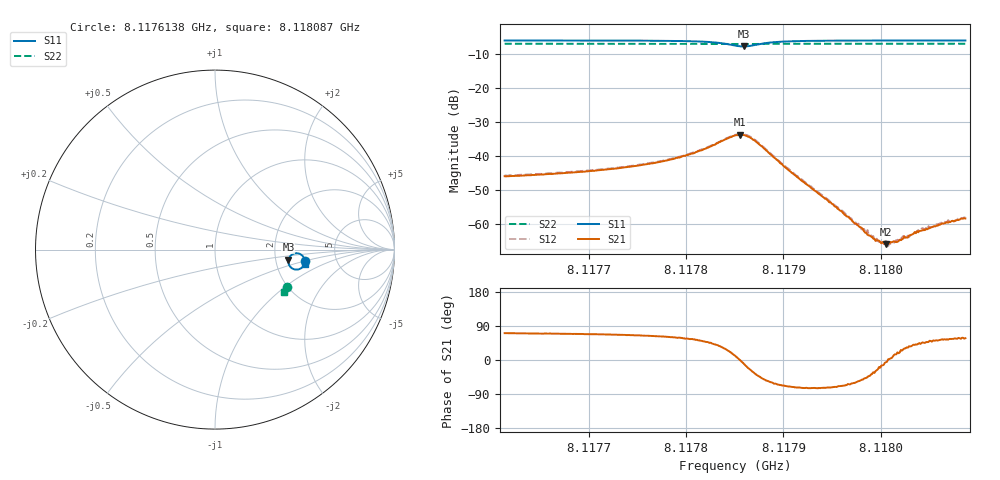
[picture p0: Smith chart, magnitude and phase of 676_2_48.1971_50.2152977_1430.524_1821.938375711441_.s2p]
#  HZ  S  RI  R  50.00
! Rohde & Schwarz Vector Network Analyzer
! Rohde-Schwarz,ZNB20-2Port,1311601062101988,3.16
! Created: UTC 3/20/2024, 12:06:20 PM
! freq[Hz]  re:S11  im:S11  re:S21  im:S21  re:S12  im:S12  re:S22  im:S22
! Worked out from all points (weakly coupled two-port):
!   401 points, 8.1176138 GHz to 8.118087 GHz, reference 50 ohm
!   highest |S21| = -33.71 dB at 8.1178551 GHz (marker M1); lowest = -66.0 dB at 8.1180054 GHz (marker M2)
!   lowest |S11| = -7.7 dB at 8.1178599 GHz (marker M3), VSWR 2.41, Z = 118 - j16.1 ohm
!   |S11| at or under -10 dB: nowhere
!   |S22| runs from -7.0 to -6.9 dB; largest |S21 - S12| = 0.00083
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8.11761375e9  0.5026 -0.0645  0.00166 0.00477  0.00167 0.00488  0.4018 -0.2088
8.11769303e9  0.5003 -0.0743  0.00212 0.00547  0.00221 0.00558  0.3994 -0.214
8.11773326e9  0.498 -0.0808  0.00269 0.00616  0.00275 0.00627  0.3979 -0.2165
8.1177723e9  0.4934 -0.0895  0.00377 0.00727  0.0039 0.0074  0.3965 -0.2193
8.11781135e9  0.4796 -0.1038  0.00689 0.00931  0.00712 0.00935  0.3946 -0.222
8.11785039e9  0.4164 -0.0916  0.0197 0.00399  0.0201 0.00427  0.3908 -0.223
8.11785513e9  0.4094 -0.0755  0.0206 0.00023  0.0211 0.000425  0.3906 -0.2226
8.11785986e9  0.4092 -0.0566  0.0201 -0.0039  0.0205 -0.00373  0.3906 -0.2219
8.11787169e9  0.4366 -0.0236  0.0131 -0.01  0.0136 -0.0103  0.3917 -0.2216
8.11789417e9  0.4815 -0.0293  0.00368 -0.00783  0.00384 -0.00791  0.3929 -0.2236
8.11792967e9  0.4975 -0.0505  0.00091 -0.00317  0.000943 -0.00329  0.3923 -0.2269
8.11795215e9  0.4997 -0.0586  0.000608 -0.00175  0.000587 -0.00181  0.3916 -0.2287
8.11798646e9  0.5007 -0.0669  0.00049 -0.000491  0.000535 -0.000612  0.3905 -0.231
8.11799593e9  0.5008 -0.0687  0.00051 -0.000259  0.000534 -0.000286  0.3903 -0.2317
8.11800539e9  0.5007 -0.0704  0.000497 -5e-05  0.000557 -7.57e-05  0.3899 -0.2322
8.11800894e9  0.5006 -0.0709  0.000512 2.2e-05  0.000538 1.67e-05  0.3898 -0.2324
8.11801841e9  0.5007 -0.0725  0.00053 0.000171  0.000576 0.000179  0.3896 -0.2331
8.11802196e9  0.5006 -0.073  0.000537 0.00025  0.000583 0.000248  0.3894 -0.2334
8.11802787e9  0.5007 -0.074  0.00053 0.00034  0.000569 0.000357  0.3891 -0.2337
8.11804089e9  0.5006 -0.0758  0.000583 0.000532  0.000592 0.000535  0.3887 -0.2345
8.11806574e9  0.5003 -0.079  0.00059 0.000836  0.000635 0.000867  0.3878 -0.2361
8.11808703e9  0.5 -0.0815  0.000648 0.00101  0.000669 0.00106  0.3871 -0.2373
